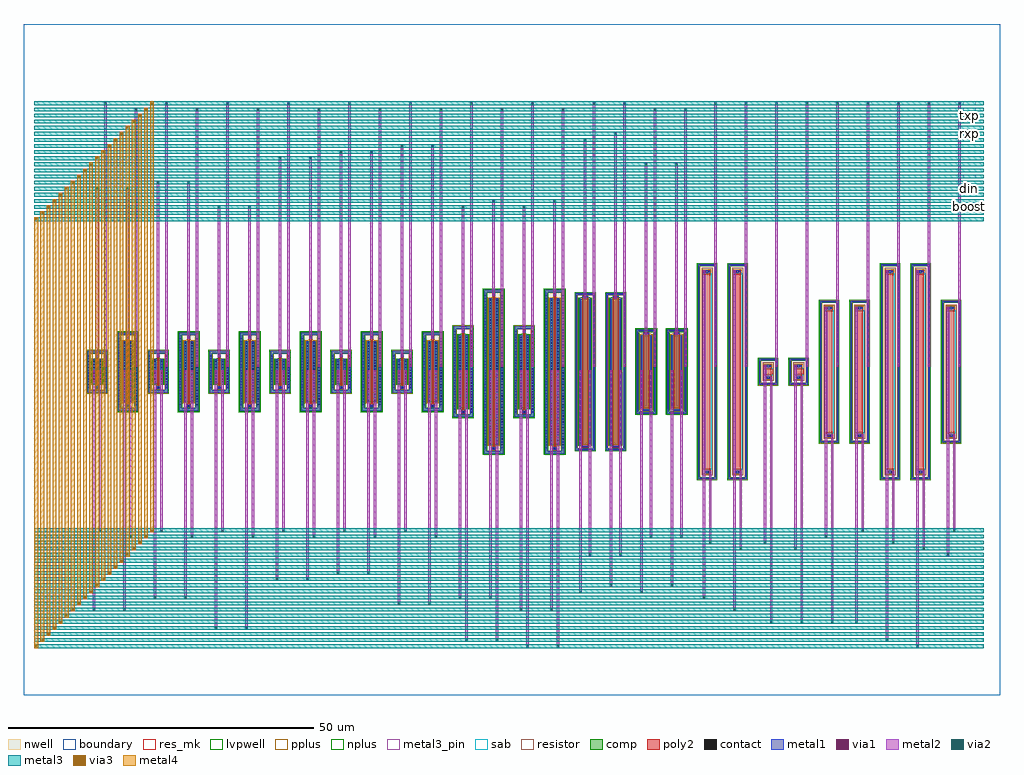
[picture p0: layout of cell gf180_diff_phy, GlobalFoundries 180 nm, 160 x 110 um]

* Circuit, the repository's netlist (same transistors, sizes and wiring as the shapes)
* NGSPICE file created from gf180_diff_phy.ext - technology: gf180mcuD

.subckt nfet_03v3_w24_l1 G D B S
X0 S G D B nfet_03v3 ad=10.56p pd=48.88u as=10.56p ps=48.88u w=24u l=1u
.ends

.subckt ppolyf_u_1k_w1_l32 B P N
X0 P N B ppolyf_u_1k r_width=1u r_length=32u
.ends

.subckt ppolyf_u_1k_w1_l1 B P N
X0 P N B ppolyf_u_1k r_width=1u r_length=1u
.ends

.subckt pfet_03v3_w10_l0p28 G D B S
X0 S G D B pfet_03v3 ad=6.55p pd=21.31u as=6.55p ps=21.31u w=10u l=0.28u
.ends

.subckt nfet_03v3_w4_l0p28 G D B S
X0 S G D B nfet_03v3 ad=2.62p pd=9.31u as=2.62p ps=9.31u w=4u l=0.28u
.ends

.subckt ppolyf_u_1k_w1_l20 B P N
X0 P N B ppolyf_u_1k r_width=1u r_length=20u
.ends

.subckt nfet_03v3_w12_l0p28 G D B S
X0 S G D B nfet_03v3 ad=7.86p pd=25.31u as=7.86p ps=25.31u w=12u l=0.28u
.ends

.subckt pfet_03v3_w24_l0p28 G D B S
X0 S G D B pfet_03v3 ad=15.72p pd=49.31u as=15.72p ps=49.31u w=24u l=0.28u
.ends

.subckt pfet_03v3_w12_l1 G D B S
X0 S G D B pfet_03v3 ad=5.28p pd=24.88u as=5.28p ps=24.88u w=12u l=1u
.ends

.subckt gf180_diff_phy din boost rxp rxn txp txn dout VDPWR VGND
Xxn1 rxn xp2/G VGND xrt/P nfet_03v3_w24_l1
Xxrn2 VGND xrn2/P txn ppolyf_u_1k_w1_l32
Xxrbn VGND txn xrc2/P ppolyf_u_1k_w1_l1
Xxn2 rxp xp2/D VGND xrt/P nfet_03v3_w24_l1
Xxout_xp xout_xp/G dout VDPWR VDPWR pfet_03v3_w10_l0p28
Xxib_xn boost xtp_xp/G VGND VGND nfet_03v3_w4_l0p28
Xxi0_xn din xrn/P VGND VGND nfet_03v3_w4_l0p28
Xxrbp VGND txp xrc2/P ppolyf_u_1k_w1_l1
Xxib_xp boost xtp_xp/G VDPWR VDPWR pfet_03v3_w10_l0p28
Xxi0_xp din xrn/P VDPWR VDPWR pfet_03v3_w10_l0p28
Xxbuf_xn xis_xp/D xout_xp/G VGND VGND nfet_03v3_w4_l0p28
Xxbuf_xp xis_xp/D xout_xp/G VDPWR VDPWR pfet_03v3_w10_l0p28
Xxrc1 VGND VDPWR xrc2/P ppolyf_u_1k_w1_l20
Xxrc2 VGND xrc2/P VGND ppolyf_u_1k_w1_l20
Xxtp_xn boost xrp/P VGND xrp2/P nfet_03v3_w12_l0p28
Xxi1_xn xrn/P xrp/P VGND VGND nfet_03v3_w4_l0p28
Xxtp_xp xtp_xp/G xrp/P VDPWR xrp2/P pfet_03v3_w24_l0p28
Xxi1_xp xrn/P xrp/P VDPWR VDPWR pfet_03v3_w10_l0p28
Xxrn VGND xrn/P txn ppolyf_u_1k_w1_l32
Xxrp VGND xrp/P txp ppolyf_u_1k_w1_l32
Xxrt VGND xrt/P VGND ppolyf_u_1k_w1_l20
Xxtn_xn boost xrn/P VGND xrn2/P nfet_03v3_w12_l0p28
Xxtn_xp xtp_xp/G xrn/P VDPWR xrn2/P pfet_03v3_w24_l0p28
Xxis_xn xp2/D xis_xp/D VGND VGND nfet_03v3_w4_l0p28
Xxis_xp xp2/D xis_xp/D VDPWR VDPWR pfet_03v3_w10_l0p28
Xxp1 xp2/G xp2/G VDPWR VDPWR pfet_03v3_w12_l1
Xxrp2 VGND xrp2/P txp ppolyf_u_1k_w1_l32
Xxp2 xp2/G xp2/D VDPWR VDPWR pfet_03v3_w12_l1
Xxout_xn xout_xp/G dout VGND VGND nfet_03v3_w4_l0p28
.ends

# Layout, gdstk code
import gdstk
lib = gdstk.Library(unit=1e-6, precision=1e-09)
def R(c, l, rs):  # rectangles x0, y0, x1, y1
    for r in rs: c.add(gdstk.rectangle(r[:2], r[2:], *l))
def A(c, l, x, y, w, h, nx, ny, dx, dy):  # array of equal rectangles
    R(c, l, [(x+i*dx, y+j*dy, x+i*dx+w, y+j*dy+h) for i in range(nx) for j in range(ny)])
boundary = (0, 0)
nwell = (21, 0)
comp = (22, 0)
poly2 = (30, 0)
pplus = (31, 0)
nplus = (32, 0)
contact = (33, 0)
metal1 = (34, 0)
via1 = (35, 0)
metal2 = (36, 0)
via2 = (38, 0)
via3 = (40, 0)
metal3 = (42, 0)
metal3_pin = (42, 10)
metal4 = (46, 0)
sab = (49, 0)
resistor = (62, 0)
res_mk = (110, 5)
lvpwell = (204, 0)

nfet_03v3_w4_l0p28 = lib.new_cell('nfet_03v3_w4_l0p28')
R(nfet_03v3_w4_l0p28, boundary, [(-1.38,-3.22,1.38,3.22)])
R(nfet_03v3_w4_l0p28, comp, [(-1.635,-3.475,1.635,-2.965), (-1.635,-2.965,-1.125,2.965), (1.125,-2.965,1.635,2.965), (-0.795,-2,0.795,2), (-1.635,2.965,1.635,3.475)])
R(nfet_03v3_w4_l0p28, poly2, [(-0.255,-2.855,0.255,-2.345), (-0.14,-2.345,0.14,2.345), (-0.255,2.345,0.255,2.855)])
R(nfet_03v3_w4_l0p28, pplus, [(-1.655,-3.495,1.655,-2.945), (-1.655,-2.945,-1.095,-2.82), (1.095,-2.945,1.655,-2.82), (-1.665,-2.82,-1.095,2.82), (1.095,-2.82,1.665,2.82), (-1.655,2.82,-1.095,2.945), (1.095,2.82,1.655,2.945), (-1.655,2.945,1.655,3.495)])
R(nfet_03v3_w4_l0p28, nplus, [(-0.37,-2.23,0.37,-2.16), (-0.955,-2.16,0.955,2.16), (-0.37,2.16,0.37,2.23)])
A(nfet_03v3_w4_l0p28, contact, -1.49, -2.695, 0.22, 0.22, 1, 12, 0, 0.47)
A(nfet_03v3_w4_l0p28, contact, 1.27, -2.695, 0.22, 0.22, 1, 12, 0, 0.47)
A(nfet_03v3_w4_l0p28, contact, -0.65, -1.755, 0.22, 0.22, 1, 8, 0, 0.47)
A(nfet_03v3_w4_l0p28, contact, 0.43, -1.755, 0.22, 0.22, 1, 8, 0, 0.47)
R(nfet_03v3_w4_l0p28, contact, [(-0.11,-2.71,0.11,-2.49), (-0.11,2.49,0.11,2.71)])
R(nfet_03v3_w4_l0p28, metal1, [(-1.57,-3.41,1.57,-3.03), (-1.57,-3.03,-1.19,3.03), (1.19,-3.03,1.57,3.03), (-0.265,-2.79,0.265,-2.41), (-0.73,-2.01,-0.35,2.01), (0.35,-2.01,0.73,2.01), (-0.265,2.41,0.265,2.79), (-1.57,3.03,1.57,3.41)])
R(nfet_03v3_w4_l0p28, lvpwell, [(-1.755,-3.595,1.755,3.595)])
nfet_03v3_w4_l0p28.add(gdstk.Label('D', (-0.54,0), layer=22, texttype=0))
nfet_03v3_w4_l0p28.add(gdstk.Label('S', (0.54,0), layer=22, texttype=0))
nfet_03v3_w4_l0p28.add(gdstk.Label('G', (0,2.6), layer=30, texttype=10))
nfet_03v3_w4_l0p28.add(gdstk.Label('B', (-1.38,0), layer=22, texttype=0))

pfet_03v3_w10_l0p28 = lib.new_cell('pfet_03v3_w10_l0p28')
R(pfet_03v3_w10_l0p28, boundary, [(-1.38,-6.22,1.38,6.22)])
R(pfet_03v3_w10_l0p28, nwell, [(-1.755,-6.595,1.755,6.595)])
R(pfet_03v3_w10_l0p28, comp, [(-1.635,-6.475,1.635,-5.965), (-1.635,-5.965,-1.125,5.965), (1.125,-5.965,1.635,5.965), (-0.795,-5,0.795,5), (-1.635,5.965,1.635,6.475)])
R(pfet_03v3_w10_l0p28, poly2, [(-0.255,-5.855,0.255,-5.345), (-0.14,-5.345,0.14,5.345), (-0.255,5.345,0.255,5.855)])
R(pfet_03v3_w10_l0p28, pplus, [(-0.37,-5.23,0.37,-5.16), (-0.955,-5.16,0.955,5.16), (-0.37,5.16,0.37,5.23)])
R(pfet_03v3_w10_l0p28, nplus, [(-1.795,-6.635,1.795,-5.945), (-1.795,-5.945,-1.095,5.945), (1.095,-5.945,1.795,5.945), (-1.795,5.945,1.795,6.635)])
A(pfet_03v3_w10_l0p28, contact, -1.49, -5.515, 0.22, 0.22, 1, 24, 0, 0.47)
A(pfet_03v3_w10_l0p28, contact, 1.27, -5.515, 0.22, 0.22, 1, 24, 0, 0.47)
A(pfet_03v3_w10_l0p28, contact, -0.65, -4.81, 0.22, 0.22, 1, 21, 0, 0.47)
A(pfet_03v3_w10_l0p28, contact, 0.43, -4.81, 0.22, 0.22, 1, 21, 0, 0.47)
R(pfet_03v3_w10_l0p28, contact, [(-0.11,-5.71,0.11,-5.49), (-0.11,5.49,0.11,5.71)])
R(pfet_03v3_w10_l0p28, metal1, [(-1.57,-6.41,1.57,-6.03), (-1.57,-6.03,-1.19,6.03), (1.19,-6.03,1.57,6.03), (-0.265,-5.79,0.265,-5.41), (-0.73,-5.01,-0.35,5.01), (0.35,-5.01,0.73,5.01), (-0.265,5.41,0.265,5.79), (-1.57,6.03,1.57,6.41)])
pfet_03v3_w10_l0p28.add(gdstk.Label('D', (-0.54,0), layer=22, texttype=0))
pfet_03v3_w10_l0p28.add(gdstk.Label('S', (0.54,0), layer=22, texttype=0))
pfet_03v3_w10_l0p28.add(gdstk.Label('G', (0,5.6), layer=30, texttype=10))
pfet_03v3_w10_l0p28.add(gdstk.Label('B', (-1.38,0), layer=22, texttype=0))

nfet_03v3_w12_l0p28 = lib.new_cell('nfet_03v3_w12_l0p28')
R(nfet_03v3_w12_l0p28, boundary, [(-1.38,-7.22,1.38,7.22)])
R(nfet_03v3_w12_l0p28, comp, [(-1.635,-7.475,1.635,-6.965), (-1.635,-6.965,-1.125,6.965), (1.125,-6.965,1.635,6.965), (-0.795,-6,0.795,6), (-1.635,6.965,1.635,7.475)])
R(nfet_03v3_w12_l0p28, poly2, [(-0.255,-6.855,0.255,-6.345), (-0.14,-6.345,0.14,6.345), (-0.255,6.345,0.255,6.855)])
R(nfet_03v3_w12_l0p28, pplus, [(-1.655,-7.495,1.655,-6.945), (-1.655,-6.945,-1.095,-6.82), (1.095,-6.945,1.655,-6.82), (-1.665,-6.82,-1.095,6.82), (1.095,-6.82,1.665,6.82), (-1.655,6.82,-1.095,6.945), (1.095,6.82,1.655,6.945), (-1.655,6.945,1.655,7.495)])
R(nfet_03v3_w12_l0p28, nplus, [(-0.37,-6.23,0.37,-6.16), (-0.955,-6.16,0.955,6.16), (-0.37,6.16,0.37,6.23)])
A(nfet_03v3_w12_l0p28, contact, -1.49, -6.69, 0.22, 0.22, 1, 29, 0, 0.47)
A(nfet_03v3_w12_l0p28, contact, 1.27, -6.69, 0.22, 0.22, 1, 29, 0, 0.47)
A(nfet_03v3_w12_l0p28, contact, -0.65, -5.75, 0.22, 0.22, 1, 25, 0, 0.47)
A(nfet_03v3_w12_l0p28, contact, 0.43, -5.75, 0.22, 0.22, 1, 25, 0, 0.47)
R(nfet_03v3_w12_l0p28, contact, [(-0.11,-6.71,0.11,-6.49), (-0.11,6.49,0.11,6.71)])
R(nfet_03v3_w12_l0p28, metal1, [(-1.57,-7.41,1.57,-7.03), (-1.57,-7.03,-1.19,7.03), (1.19,-7.03,1.57,7.03), (-0.265,-6.79,0.265,-6.41), (-0.73,-6.01,-0.35,6.01), (0.35,-6.01,0.73,6.01), (-0.265,6.41,0.265,6.79), (-1.57,7.03,1.57,7.41)])
R(nfet_03v3_w12_l0p28, lvpwell, [(-1.755,-7.595,1.755,7.595)])
nfet_03v3_w12_l0p28.add(gdstk.Label('D', (-0.54,0), layer=22, texttype=0))
nfet_03v3_w12_l0p28.add(gdstk.Label('S', (0.54,0), layer=22, texttype=0))
nfet_03v3_w12_l0p28.add(gdstk.Label('G', (0,6.6), layer=30, texttype=10))
nfet_03v3_w12_l0p28.add(gdstk.Label('B', (-1.38,0), layer=22, texttype=0))

pfet_03v3_w24_l0p28 = lib.new_cell('pfet_03v3_w24_l0p28')
R(pfet_03v3_w24_l0p28, boundary, [(-1.38,-13.22,1.38,13.22)])
R(pfet_03v3_w24_l0p28, nwell, [(-1.755,-13.595,1.755,13.595)])
R(pfet_03v3_w24_l0p28, comp, [(-1.635,-13.475,1.635,-12.965), (-1.635,-12.965,-1.125,12.965), (1.125,-12.965,1.635,12.965), (-0.795,-12,0.795,12), (-1.635,12.965,1.635,13.475)])
R(pfet_03v3_w24_l0p28, poly2, [(-0.255,-12.855,0.255,-12.345), (-0.14,-12.345,0.14,12.345), (-0.255,12.345,0.255,12.855)])
R(pfet_03v3_w24_l0p28, pplus, [(-0.37,-12.23,0.37,-12.16), (-0.955,-12.16,0.955,12.16), (-0.37,12.16,0.37,12.23)])
R(pfet_03v3_w24_l0p28, nplus, [(-1.795,-13.635,1.795,-12.945), (-1.795,-12.945,-1.095,12.945), (1.095,-12.945,1.795,12.945), (-1.795,12.945,1.795,13.635)])
A(pfet_03v3_w24_l0p28, contact, -1.49, -12.565, 0.22, 0.22, 1, 54, 0, 0.47)
A(pfet_03v3_w24_l0p28, contact, 1.27, -12.565, 0.22, 0.22, 1, 54, 0, 0.47)
A(pfet_03v3_w24_l0p28, contact, -0.65, -11.86, 0.22, 0.22, 1, 51, 0, 0.47)
A(pfet_03v3_w24_l0p28, contact, 0.43, -11.86, 0.22, 0.22, 1, 51, 0, 0.47)
R(pfet_03v3_w24_l0p28, contact, [(-0.11,-12.71,0.11,-12.49), (-0.11,12.49,0.11,12.71)])
R(pfet_03v3_w24_l0p28, metal1, [(-1.57,-13.41,1.57,-13.03), (-1.57,-13.03,-1.19,13.03), (1.19,-13.03,1.57,13.03), (-0.265,-12.79,0.265,-12.41), (-0.73,-12.01,-0.35,12.01), (0.35,-12.01,0.73,12.01), (-0.265,12.41,0.265,12.79), (-1.57,13.03,1.57,13.41)])
pfet_03v3_w24_l0p28.add(gdstk.Label('D', (-0.54,0), layer=22, texttype=0))
pfet_03v3_w24_l0p28.add(gdstk.Label('S', (0.54,0), layer=22, texttype=0))
pfet_03v3_w24_l0p28.add(gdstk.Label('G', (0,12.6), layer=30, texttype=10))
pfet_03v3_w24_l0p28.add(gdstk.Label('B', (-1.38,0), layer=22, texttype=0))

nfet_03v3_w24_l1 = lib.new_cell('nfet_03v3_w24_l1')
R(nfet_03v3_w24_l1, boundary, [(-1.45,-12.75,1.45,12.75)])
R(nfet_03v3_w24_l1, comp, [(-1.63,-12.93,1.63,-12.57), (-1.63,-12.57,-1.27,12.57), (1.27,-12.57,1.63,12.57), (-0.94,-12,0.94,12), (-1.63,12.57,1.63,12.93)])
R(nfet_03v3_w24_l1, poly2, [(-0.5,-12.46,0.5,12.46)])
R(nfet_03v3_w24_l1, pplus, [(-1.65,-12.95,1.65,-12.55), (-1.65,-12.55,-1.24,-12.445), (1.24,-12.55,1.65,-12.445), (-1.66,-12.445,-1.24,12.445), (1.24,-12.445,1.66,12.445), (-1.65,12.445,-1.24,12.55), (1.24,12.445,1.65,12.55), (-1.65,12.55,1.65,12.95)])
R(nfet_03v3_w24_l1, nplus, [(-0.73,-12.23,0.73,-12.16), (-1.1,-12.16,1.1,12.16), (-0.73,12.16,0.73,12.23)])
A(nfet_03v3_w24_l1, contact, -1.56, -12.33, 0.22, 0.22, 1, 53, 0, 0.47)
A(nfet_03v3_w24_l1, contact, 1.34, -12.33, 0.22, 0.22, 1, 53, 0, 0.47)
A(nfet_03v3_w24_l1, contact, -0.87, -11.86, 0.22, 0.22, 1, 51, 0, 0.47)
A(nfet_03v3_w24_l1, contact, 0.65, -11.86, 0.22, 0.22, 1, 51, 0, 0.47)
R(nfet_03v3_w24_l1, contact, [(-0.345,-12.39,-0.125,-12.17), (0.125,-12.39,0.345,-12.17), (-0.345,12.17,-0.125,12.39), (0.125,12.17,0.345,12.39)])
R(nfet_03v3_w24_l1, metal1, [(-1.565,-12.865,1.565,-12.635), (-1.565,-12.635,-1.335,12.635), (1.335,-12.635,1.565,12.635), (-0.49,-12.395,0.49,-12.165), (-0.875,-11.99,-0.645,11.99), (0.645,-11.99,0.875,11.99), (-0.49,12.165,0.49,12.395), (-1.565,12.635,1.565,12.865)])
R(nfet_03v3_w24_l1, lvpwell, [(-1.75,-13.05,1.75,13.05)])
nfet_03v3_w24_l1.add(gdstk.Label('D', (-0.76,0), layer=22, texttype=0))
nfet_03v3_w24_l1.add(gdstk.Label('S', (0.76,0), layer=22, texttype=0))
nfet_03v3_w24_l1.add(gdstk.Label('G', (0,12.28), layer=30, texttype=10))
nfet_03v3_w24_l1.add(gdstk.Label('B', (-1.45,0), layer=22, texttype=0))

pfet_03v3_w12_l1 = lib.new_cell('pfet_03v3_w12_l1')
R(pfet_03v3_w12_l1, boundary, [(-1.45,-6.75,1.45,6.75)])
R(pfet_03v3_w12_l1, nwell, [(-1.75,-7.05,1.75,7.05)])
R(pfet_03v3_w12_l1, comp, [(-1.63,-6.93,1.63,-6.57), (-1.63,-6.57,-1.27,6.57), (1.27,-6.57,1.63,6.57), (-0.94,-6,0.94,6), (-1.63,6.57,1.63,6.93)])
R(pfet_03v3_w12_l1, poly2, [(-0.5,-6.46,0.5,6.46)])
R(pfet_03v3_w12_l1, pplus, [(-0.73,-6.23,0.73,-6.16), (-1.1,-6.16,1.1,6.16), (-0.73,6.16,0.73,6.23)])
R(pfet_03v3_w12_l1, nplus, [(-1.79,-7.09,1.79,-6.46), (-1.79,-6.46,-1.16,6.46), (1.16,-6.46,1.79,6.46), (-1.79,6.46,1.79,7.09)])
A(pfet_03v3_w12_l1, contact, -1.56, -6.22, 0.22, 0.22, 1, 27, 0, 0.47)
A(pfet_03v3_w12_l1, contact, 1.34, -6.22, 0.22, 0.22, 1, 27, 0, 0.47)
A(pfet_03v3_w12_l1, contact, -0.87, -5.75, 0.22, 0.22, 1, 25, 0, 0.47)
A(pfet_03v3_w12_l1, contact, 0.65, -5.75, 0.22, 0.22, 1, 25, 0, 0.47)
R(pfet_03v3_w12_l1, contact, [(-0.345,-6.39,-0.125,-6.17), (0.125,-6.39,0.345,-6.17), (-0.345,6.17,-0.125,6.39), (0.125,6.17,0.345,6.39)])
R(pfet_03v3_w12_l1, metal1, [(-1.565,-6.865,1.565,-6.635), (-1.565,-6.635,-1.335,6.635), (1.335,-6.635,1.565,6.635), (-0.49,-6.395,0.49,-6.165), (-0.875,-5.99,-0.645,5.99), (0.645,-5.99,0.875,5.99), (-0.49,6.165,0.49,6.395), (-1.565,6.635,1.565,6.865)])
pfet_03v3_w12_l1.add(gdstk.Label('D', (-0.76,0), layer=22, texttype=0))
pfet_03v3_w12_l1.add(gdstk.Label('S', (0.76,0), layer=22, texttype=0))
pfet_03v3_w12_l1.add(gdstk.Label('G', (0,6.28), layer=30, texttype=10))
pfet_03v3_w12_l1.add(gdstk.Label('B', (-1.45,0), layer=22, texttype=0))

ppolyf_u_1k_w1_l32 = lib.new_cell('ppolyf_u_1k_w1_l32')
R(ppolyf_u_1k_w1_l32, boundary, [(-1.38,-17.49,1.38,17.49)])
R(ppolyf_u_1k_w1_l32, comp, [(-1.56,-17.67,1.56,-17.31), (-1.56,-17.31,-1.2,17.31), (1.2,-17.31,1.56,17.31), (-1.56,17.31,1.56,17.67)])
R(ppolyf_u_1k_w1_l32, poly2, [(-0.5,-16.61,0.5,16.61)])
R(ppolyf_u_1k_w1_l32, pplus, [(-1.58,-17.69,1.58,-17.29), (-1.58,-17.29,-1.17,-17.185), (1.17,-17.29,1.58,-17.185), (-1.59,-17.185,-1.17,17.185), (1.17,-17.185,1.59,17.185), (-0.7,-16.81,0.7,-16), (-0.7,16,0.7,16.81), (-1.58,17.185,-1.17,17.29), (1.17,17.185,1.58,17.29), (-1.58,17.29,1.58,17.69)])
A(ppolyf_u_1k_w1_l32, contact, -1.49, -17.03, 0.22, 0.22, 1, 73, 0, 0.47)
A(ppolyf_u_1k_w1_l32, contact, 1.27, -17.03, 0.22, 0.22, 1, 73, 0, 0.47)
R(ppolyf_u_1k_w1_l32, contact, [(-0.345,-16.54,-0.125,-16.32), (0.125,-16.54,0.345,-16.32), (-0.345,16.32,-0.125,16.54), (0.125,16.32,0.345,16.54)])
R(ppolyf_u_1k_w1_l32, metal1, [(-1.495,-17.605,1.495,-17.375), (-1.495,-17.375,-1.265,17.375), (1.265,-17.375,1.495,17.375), (-0.49,-16.545,0.49,-16.315), (-0.49,16.315,0.49,16.545), (-1.495,17.375,1.495,17.605)])
R(ppolyf_u_1k_w1_l32, sab, [(-0.78,-16.1,0.78,16.1), (-0.78,-16,0.78,16)])
R(ppolyf_u_1k_w1_l32, resistor, [(-0.9,-17.01,0.9,17.01)])
R(ppolyf_u_1k_w1_l32, res_mk, [(-0.78,-16,0.78,16), (-0.5,-16,0.5,16)])
R(ppolyf_u_1k_w1_l32, lvpwell, [(-1.68,-17.79,1.68,17.79)])
ppolyf_u_1k_w1_l32.add(gdstk.Label('P', (0,16.43), layer=30, texttype=10))
ppolyf_u_1k_w1_l32.add(gdstk.Label('N', (0,-16.43), layer=30, texttype=10))
ppolyf_u_1k_w1_l32.add(gdstk.Label('B', (-1.38,0), layer=22, texttype=0))

ppolyf_u_1k_w1_l1 = lib.new_cell('ppolyf_u_1k_w1_l1')
R(ppolyf_u_1k_w1_l1, boundary, [(-1.38,-1.99,1.38,1.99)])
R(ppolyf_u_1k_w1_l1, comp, [(-1.56,-2.17,1.56,-1.81), (-1.56,-1.81,-1.2,1.81), (1.2,-1.81,1.56,1.81), (-1.56,1.81,1.56,2.17)])
R(ppolyf_u_1k_w1_l1, poly2, [(-0.5,-1.11,0.5,1.11)])
R(ppolyf_u_1k_w1_l1, pplus, [(-1.58,-2.19,1.58,-1.79), (-1.58,-1.79,-1.17,-1.685), (1.17,-1.79,1.58,-1.685), (-1.59,-1.685,-1.17,1.685), (1.17,-1.685,1.59,1.685), (-0.7,-1.31,0.7,-0.5), (-0.7,0.5,0.7,1.31), (-1.58,1.685,-1.17,1.79), (1.17,1.685,1.58,1.79), (-1.58,1.79,1.58,2.19)])
A(ppolyf_u_1k_w1_l1, contact, -1.49, -1.52, 0.22, 0.22, 1, 7, 0, 0.47)
A(ppolyf_u_1k_w1_l1, contact, 1.27, -1.52, 0.22, 0.22, 1, 7, 0, 0.47)
R(ppolyf_u_1k_w1_l1, contact, [(-0.345,-1.04,-0.125,-0.82), (0.125,-1.04,0.345,-0.82), (-0.345,0.82,-0.125,1.04), (0.125,0.82,0.345,1.04)])
R(ppolyf_u_1k_w1_l1, metal1, [(-1.495,-2.105,1.495,-1.875), (-1.495,-1.875,-1.265,1.875), (1.265,-1.875,1.495,1.875), (-0.49,-1.045,0.49,-0.815), (-0.49,0.815,0.49,1.045), (-1.495,1.875,1.495,2.105)])
R(ppolyf_u_1k_w1_l1, sab, [(-0.9,-0.6,0.9,0.6), (-0.78,-0.6,0.78,0.6)])
R(ppolyf_u_1k_w1_l1, resistor, [(-0.9,-1.51,0.9,1.51)])
R(ppolyf_u_1k_w1_l1, res_mk, [(-0.78,-0.5,0.78,0.5), (-0.5,-0.5,0.5,0.5)])
R(ppolyf_u_1k_w1_l1, lvpwell, [(-1.68,-2.29,1.68,2.29)])
ppolyf_u_1k_w1_l1.add(gdstk.Label('P', (0,0.93), layer=30, texttype=10))
ppolyf_u_1k_w1_l1.add(gdstk.Label('N', (0,-0.93), layer=30, texttype=10))
ppolyf_u_1k_w1_l1.add(gdstk.Label('B', (-1.38,0), layer=22, texttype=0))

ppolyf_u_1k_w1_l20 = lib.new_cell('ppolyf_u_1k_w1_l20')
R(ppolyf_u_1k_w1_l20, boundary, [(-1.38,-11.49,1.38,11.49)])
R(ppolyf_u_1k_w1_l20, comp, [(-1.56,-11.67,1.56,-11.31), (-1.56,-11.31,-1.2,11.31), (1.2,-11.31,1.56,11.31), (-1.56,11.31,1.56,11.67)])
R(ppolyf_u_1k_w1_l20, poly2, [(-0.5,-10.61,0.5,10.61)])
R(ppolyf_u_1k_w1_l20, pplus, [(-1.58,-11.69,1.58,-11.29), (-1.58,-11.29,-1.17,-11.185), (1.17,-11.29,1.58,-11.185), (-1.59,-11.185,-1.17,11.185), (1.17,-11.185,1.59,11.185), (-0.7,-10.81,0.7,-10), (-0.7,10,0.7,10.81), (-1.58,11.185,-1.17,11.29), (1.17,11.185,1.58,11.29), (-1.58,11.29,1.58,11.69)])
A(ppolyf_u_1k_w1_l20, contact, -1.49, -10.92, 0.22, 0.22, 1, 47, 0, 0.47)
A(ppolyf_u_1k_w1_l20, contact, 1.27, -10.92, 0.22, 0.22, 1, 47, 0, 0.47)
R(ppolyf_u_1k_w1_l20, contact, [(-0.345,-10.54,-0.125,-10.32), (0.125,-10.54,0.345,-10.32), (-0.345,10.32,-0.125,10.54), (0.125,10.32,0.345,10.54)])
R(ppolyf_u_1k_w1_l20, metal1, [(-1.495,-11.605,1.495,-11.375), (-1.495,-11.375,-1.265,11.375), (1.265,-11.375,1.495,11.375), (-0.49,-10.545,0.49,-10.315), (-0.49,10.315,0.49,10.545), (-1.495,11.375,1.495,11.605)])
R(ppolyf_u_1k_w1_l20, sab, [(-0.78,-10.1,0.78,10.1), (-0.78,-10,0.78,10)])
R(ppolyf_u_1k_w1_l20, resistor, [(-0.9,-11.01,0.9,11.01)])
R(ppolyf_u_1k_w1_l20, res_mk, [(-0.78,-10,0.78,10), (-0.5,-10,0.5,10)])
R(ppolyf_u_1k_w1_l20, lvpwell, [(-1.68,-11.79,1.68,11.79)])
ppolyf_u_1k_w1_l20.add(gdstk.Label('P', (0,10.43), layer=30, texttype=10))
ppolyf_u_1k_w1_l20.add(gdstk.Label('N', (0,-10.43), layer=30, texttype=10))
ppolyf_u_1k_w1_l20.add(gdstk.Label('B', (-1.38,0), layer=22, texttype=0))

gf180_diff_phy = lib.new_cell('gf180_diff_phy')
R(gf180_diff_phy, boundary, [(0,0,160,110)])
A(gf180_diff_phy, metal1, 13.18, 53.8, 0.4, 0.4, 16, 1, 5, 0)
A(gf180_diff_phy, metal1, 93.25, 53.8, 0.4, 0.4, 4, 1, 5, 0)
A(gf180_diff_phy, metal1, 113.18, 53.8, 0.4, 0.4, 9, 1, 5, 0)
A(gf180_diff_phy, metal1, 11.8, 55.4, 0.4, 0.4, 6, 1, 10, 0)
A(gf180_diff_phy, metal1, 16.8, 58.4, 0.4, 0.4, 6, 1, 10, 0)
R(gf180_diff_phy, metal1, [(111.8,36.37,112.7,36.77), (116.8,36.37,117.7,36.77), (141.8,36.37,142.7,36.77), (146.8,36.37,147.7,36.77), (131.8,42.37,132.7,42.77), (136.8,42.37,137.7,42.77), (151.8,42.37,152.7,42.77), (121.8,51.87,122.7,52.27), (126.8,51.87,127.7,52.27), (11.26,52.8,11.66,53.2), (12.34,52.8,12.74,53.2), (16.26,52.8,16.66,53.2), (17.34,52.8,17.74,53.2), (21.26,52.8,21.66,53.2), (22.34,52.8,22.74,53.2), (26.26,52.8,26.66,53.2), (27.34,52.8,27.74,53.2), (31.26,52.8,31.66,53.2), (32.34,52.8,32.74,53.2), (36.26,52.8,36.66,53.2), (37.34,52.8,37.74,53.2), (41.26,52.8,41.66,53.2), (42.34,52.8,42.74,53.2), (46.26,52.8,46.66,53.2), (47.34,52.8,47.74,53.2), (51.26,52.8,51.66,53.2), (52.34,52.8,52.74,53.2), (56.26,52.8,56.66,53.2), (57.34,52.8,57.74,53.2), (61.26,52.8,61.66,53.2), (62.34,52.8,62.74,53.2), (66.26,52.8,66.66,53.2), (67.34,52.8,67.74,53.2), (71.26,52.8,71.66,53.2), (72.34,52.8,72.74,53.2), (76.26,52.8,76.66,53.2), (77.34,52.8,77.74,53.2), (81.26,52.8,81.66,53.2), (82.34,52.8,82.74,53.2), (86.26,52.8,86.66,53.2), (87.34,52.8,87.74,53.2), (91.04,52.8,91.44,53.2), (92.56,52.8,92.96,53.2), (96.04,52.8,96.44,53.2), (97.56,52.8,97.96,53.2), (101.04,52.8,101.44,53.2), (102.56,52.8,102.96,53.2), (106.04,52.8,106.44,53.2), (107.56,52.8,107.96,53.2), (121.3,53.73,122.2,54.13), (126.3,53.73,127.2,54.13), (101.8,58.96,102.2,59.36), (106.8,58.96,107.2,59.36), (71.8,59.4,72.2,59.8), (81.8,59.4,82.2,59.8), (131.3,63.23,132.2,63.63), (136.3,63.23,137.2,63.63), (151.3,63.23,152.2,63.63), (91.8,64.96,92.2,65.36), (96.8,64.96,97.2,65.36), (76.8,65.4,77.2,65.8), (86.8,65.4,87.2,65.8), (111.3,69.23,112.2,69.63), (116.3,69.23,117.2,69.63), (141.3,69.23,142.2,69.63), (146.3,69.23,147.2,69.63)])
A(gf180_diff_phy, via1, 13.25, 53.87, 0.26, 0.26, 16, 1, 5, 0)
A(gf180_diff_phy, via1, 93.32, 53.87, 0.26, 0.26, 4, 1, 5, 0)
A(gf180_diff_phy, via1, 113.25, 53.87, 0.26, 0.26, 9, 1, 5, 0)
A(gf180_diff_phy, via1, 11.87, 55.47, 0.26, 0.26, 6, 1, 10, 0)
A(gf180_diff_phy, via1, 16.87, 58.47, 0.26, 0.26, 6, 1, 10, 0)
R(gf180_diff_phy, via1, [(112.37,36.44,112.63,36.7), (117.37,36.44,117.63,36.7), (142.37,36.44,142.63,36.7), (147.37,36.44,147.63,36.7), (132.37,42.44,132.63,42.7), (137.37,42.44,137.63,42.7), (152.37,42.44,152.63,42.7), (122.37,51.94,122.63,52.2), (127.37,51.94,127.63,52.2), (11.33,52.87,11.59,53.13), (12.41,52.87,12.67,53.13), (16.33,52.87,16.59,53.13), (17.41,52.87,17.67,53.13), (21.33,52.87,21.59,53.13), (22.41,52.87,22.67,53.13), (26.33,52.87,26.59,53.13), (27.41,52.87,27.67,53.13), (31.33,52.87,31.59,53.13), (32.41,52.87,32.67,53.13), (36.33,52.87,36.59,53.13), (37.41,52.87,37.67,53.13), (41.33,52.87,41.59,53.13), (42.41,52.87,42.67,53.13), (46.33,52.87,46.59,53.13), (47.41,52.87,47.67,53.13), (51.33,52.87,51.59,53.13), (52.41,52.87,52.67,53.13), (56.33,52.87,56.59,53.13), (57.41,52.87,57.67,53.13), (61.33,52.87,61.59,53.13), (62.41,52.87,62.67,53.13), (66.33,52.87,66.59,53.13), (67.41,52.87,67.67,53.13), (71.33,52.87,71.59,53.13), (72.41,52.87,72.67,53.13), (76.33,52.87,76.59,53.13), (77.41,52.87,77.67,53.13), (81.33,52.87,81.59,53.13), (82.41,52.87,82.67,53.13), (86.33,52.87,86.59,53.13), (87.41,52.87,87.67,53.13), (91.11,52.87,91.37,53.13), (92.63,52.87,92.89,53.13), (96.11,52.87,96.37,53.13), (97.63,52.87,97.89,53.13), (101.11,52.87,101.37,53.13), (102.63,52.87,102.89,53.13), (106.11,52.87,106.37,53.13), (107.63,52.87,107.89,53.13), (121.37,53.8,121.63,54.06), (126.37,53.8,126.63,54.06), (101.87,59.03,102.13,59.29), (106.87,59.03,107.13,59.29), (71.87,59.47,72.13,59.73), (81.87,59.47,82.13,59.73), (131.37,63.3,131.63,63.56), (136.37,63.3,136.63,63.56), (151.37,63.3,151.63,63.56), (91.87,65.03,92.13,65.29), (96.87,65.03,97.13,65.29), (76.87,65.47,77.13,65.73), (86.87,65.47,87.13,65.73), (111.37,69.3,111.63,69.56), (116.37,69.3,116.63,69.56), (141.37,69.3,141.63,69.56), (146.37,69.3,146.63,69.56)])
A(gf180_diff_phy, metal2, 17.34, 25.8, 0.4, 27.4, 6, 1, 10, 0)
A(gf180_diff_phy, metal2, 12.34, 26.8, 0.4, 26.4, 6, 1, 10, 0)
A(gf180_diff_phy, metal2, 13.18, 53.8, 0.4, 43.4, 8, 1, 10, 0)
A(gf180_diff_phy, metal2, 18.18, 53.8, 0.4, 42.4, 8, 1, 10, 0)
A(gf180_diff_phy, metal2, 113.18, 53.8, 0.4, 43.4, 9, 1, 5, 0)
R(gf180_diff_phy, metal2, [(82.34,7.8,82.74,53.2), (87.34,7.8,87.74,53.2), (146.3,7.8,146.7,69.63), (72.34,8.8,72.74,53.2), (77.34,8.8,77.74,53.2), (141.3,8.8,141.7,69.63), (31.26,10.8,31.66,53.2), (36.26,10.8,36.66,53.2), (122.3,11.8,122.7,52.27), (127.3,11.8,127.7,52.27), (132.3,11.8,132.7,42.77), (136.3,11.8,136.7,63.63), (11.26,13.8,11.66,53.2), (16.26,13.8,16.66,53.2), (81.26,13.8,81.66,53.2), (86.26,13.8,86.66,53.2), (116.3,13.8,116.7,69.63), (61.26,14.8,61.66,53.2), (66.26,14.8,66.66,53.2), (21.26,15.8,21.66,53.2), (26.26,15.8,26.66,53.2), (71.26,15.8,71.66,53.2), (76.26,15.8,76.66,53.2), (111.3,15.8,111.7,69.63), (91.04,16.8,91.44,53.2), (101.04,16.8,101.44,53.2), (96.04,17.8,96.44,53.2), (106.04,17.8,106.44,53.2), (41.26,18.8,41.66,53.2), (46.26,18.8,46.66,53.2), (51.26,19.8,51.66,53.2), (56.26,19.8,56.66,53.2), (92.56,22.8,92.96,53.2), (97.56,22.8,97.96,53.2), (151.3,22.8,151.7,63.63), (117.3,23.8,117.7,36.77), (126.3,23.8,126.7,54.13), (147.3,23.8,147.7,36.77), (112.3,24.8,112.7,36.77), (121.3,24.8,121.7,54.13), (142.3,24.8,142.7,36.77), (102.56,25.8,102.96,53.2), (107.56,25.8,107.96,53.2), (131.3,25.8,131.7,63.63), (137.3,26.8,137.7,42.77), (152.3,26.8,152.7,42.77), (93.25,53.8,93.65,97.2), (98.25,53.8,98.65,97.2), (103.25,53.8,103.65,96.2), (108.25,53.8,108.65,96.2), (11.8,55.4,12.2,83.2), (21.8,55.4,22.2,84.2), (31.8,55.4,32.2,80.2), (41.8,55.4,42.2,88.2), (51.8,55.4,52.2,89.2), (61.8,55.4,62.2,90.2), (16.8,58.4,17.2,83.2), (26.8,58.4,27.2,84.2), (36.8,58.4,37.2,80.2), (46.8,58.4,47.2,88.2), (56.8,58.4,57.2,89.2), (66.8,58.4,67.2,90.2), (101.8,58.96,102.2,87.2), (106.8,58.96,107.2,87.2), (71.8,59.4,72.2,80.2), (81.8,59.4,82.2,80.2), (91.8,64.96,92.2,91.2), (96.8,64.96,97.2,92.2), (76.8,65.4,77.2,81.2), (86.8,65.4,87.2,81.2)])
A(gf180_diff_phy, via2, 122.37, 11.87, 0.26, 0.26, 3, 1, 5, 0)
A(gf180_diff_phy, via2, 17.41, 25.87, 0.26, 0.26, 6, 1, 10, 0)
A(gf180_diff_phy, via2, 12.41, 26.87, 0.26, 0.26, 6, 1, 10, 0)
A(gf180_diff_phy, via2, 18.25, 95.87, 0.26, 0.26, 8, 1, 10, 0)
A(gf180_diff_phy, via2, 13.25, 96.87, 0.26, 0.26, 8, 1, 10, 0)
A(gf180_diff_phy, via2, 113.25, 96.87, 0.26, 0.26, 9, 1, 5, 0)
R(gf180_diff_phy, via2, [(82.41,7.87,82.67,8.13), (87.41,7.87,87.67,8.13), (146.37,7.87,146.63,8.13), (72.41,8.87,72.67,9.13), (77.41,8.87,77.67,9.13), (141.37,8.87,141.63,9.13), (31.33,10.87,31.59,11.13), (36.33,10.87,36.59,11.13), (136.37,11.87,136.63,12.13), (11.33,13.87,11.59,14.13), (16.33,13.87,16.59,14.13), (81.33,13.87,81.59,14.13), (86.33,13.87,86.59,14.13), (116.37,13.87,116.63,14.13), (61.33,14.87,61.59,15.13), (66.33,14.87,66.59,15.13), (21.33,15.87,21.59,16.13), (26.33,15.87,26.59,16.13), (71.33,15.87,71.59,16.13), (76.33,15.87,76.59,16.13), (111.37,15.87,111.63,16.13), (91.11,16.87,91.37,17.13), (101.11,16.87,101.37,17.13), (96.11,17.87,96.37,18.13), (106.11,17.87,106.37,18.13), (41.33,18.87,41.59,19.13), (46.33,18.87,46.59,19.13), (51.33,19.87,51.59,20.13), (56.33,19.87,56.59,20.13), (92.63,22.87,92.89,23.13), (97.63,22.87,97.89,23.13), (151.37,22.87,151.63,23.13), (117.37,23.87,117.63,24.13), (126.37,23.87,126.63,24.13), (147.37,23.87,147.63,24.13), (112.37,24.87,112.63,25.13), (121.37,24.87,121.63,25.13), (142.37,24.87,142.63,25.13), (102.63,25.87,102.89,26.13), (107.63,25.87,107.89,26.13), (131.37,25.87,131.63,26.13), (137.37,26.87,137.63,27.13), (152.37,26.87,152.63,27.13), (31.87,79.87,32.13,80.13), (36.87,79.87,37.13,80.13), (71.87,79.87,72.13,80.13), (81.87,79.87,82.13,80.13), (76.87,80.87,77.13,81.13), (86.87,80.87,87.13,81.13), (11.87,82.87,12.13,83.13), (16.87,82.87,17.13,83.13), (21.87,83.87,22.13,84.13), (26.87,83.87,27.13,84.13), (101.87,86.87,102.13,87.13), (106.87,86.87,107.13,87.13), (41.87,87.87,42.13,88.13), (46.87,87.87,47.13,88.13), (51.87,88.87,52.13,89.13), (56.87,88.87,57.13,89.13), (61.87,89.87,62.13,90.13), (66.87,89.87,67.13,90.13), (91.87,90.87,92.13,91.13), (96.87,91.87,97.13,92.13), (103.32,95.87,103.58,96.13), (108.32,95.87,108.58,96.13), (93.32,96.87,93.58,97.13), (98.32,96.87,98.58,97.13)])
R(gf180_diff_phy, via3, [(1.87,7.87,2.13,8.13), (2.87,8.87,3.13,9.13), (3.87,9.87,4.13,10.13), (4.87,10.87,5.13,11.13), (5.87,11.87,6.13,12.13), (6.87,12.87,7.13,13.13), (7.87,13.87,8.13,14.13), (8.87,14.87,9.13,15.13), (9.87,15.87,10.13,16.13), (10.87,16.87,11.13,17.13), (11.87,17.87,12.13,18.13), (12.87,18.87,13.13,19.13), (13.87,19.87,14.13,20.13), (14.87,20.87,15.13,21.13), (15.87,21.87,16.13,22.13), (16.87,22.87,17.13,23.13), (17.87,23.87,18.13,24.13), (18.87,24.87,19.13,25.13), (19.87,25.87,20.13,26.13), (20.87,26.87,21.13,27.13), (1.87,77.87,2.13,78.13), (2.87,78.87,3.13,79.13), (3.87,79.87,4.13,80.13), (4.87,80.87,5.13,81.13), (5.87,81.87,6.13,82.13), (6.87,82.87,7.13,83.13), (7.87,83.87,8.13,84.13), (8.87,84.87,9.13,85.13), (9.87,85.87,10.13,86.13), (10.87,86.87,11.13,87.13), (11.87,87.87,12.13,88.13), (12.87,88.87,13.13,89.13), (13.87,89.87,14.13,90.13), (14.87,90.87,15.13,91.13), (15.87,91.87,16.13,92.13), (16.87,92.87,17.13,93.13), (17.87,93.87,18.13,94.13), (18.87,94.87,19.13,95.13), (19.87,95.87,20.13,96.13), (20.87,96.87,21.13,97.13)])
A(gf180_diff_phy, metal3, 1.7, 7.7, 155.6, 0.6, 1, 20, 0, 1)
A(gf180_diff_phy, metal3, 1.7, 77.7, 155.6, 0.6, 1, 20, 0, 1)
A(gf180_diff_phy, metal3_pin, 154, 93.7, 2, 0.6, 1, 4, 0, 1)
R(gf180_diff_phy, metal3_pin, [(154,79.7,156,80.3), (154,82.7,156,83.3), (154,84.7,156,85.3), (154,90.7,156,91.3), (154,91.7,156,92.3)])
R(gf180_diff_phy, metal4, [(1.7,7.7,2.3,78.3), (2.7,8.7,3.3,79.3), (3.7,9.7,4.3,80.3), (4.7,10.7,5.3,81.3), (5.7,11.7,6.3,82.3), (6.7,12.7,7.3,83.3), (7.7,13.7,8.3,84.3), (8.7,14.7,9.3,85.3), (9.7,15.7,10.3,86.3), (10.7,16.7,11.3,87.3), (11.7,17.7,12.3,88.3), (12.7,18.7,13.3,89.3), (13.7,19.7,14.3,90.3), (14.7,20.7,15.3,91.3), (15.7,21.7,16.3,92.3), (16.7,22.7,17.3,93.3), (17.7,23.7,18.3,94.3), (18.7,24.7,19.3,95.3), (19.7,25.7,20.3,96.3), (20.7,26.7,21.3,97.3)])
gf180_diff_phy.add(gdstk.Reference(nfet_03v3_w4_l0p28, (12,53)))
gf180_diff_phy.add(gdstk.Reference(pfet_03v3_w10_l0p28, (17,53)))
gf180_diff_phy.add(gdstk.Reference(nfet_03v3_w4_l0p28, (22,53)))
gf180_diff_phy.add(gdstk.Reference(pfet_03v3_w10_l0p28, (27,53)))
gf180_diff_phy.add(gdstk.Reference(nfet_03v3_w4_l0p28, (32,53)))
gf180_diff_phy.add(gdstk.Reference(pfet_03v3_w10_l0p28, (37,53)))
gf180_diff_phy.add(gdstk.Reference(nfet_03v3_w4_l0p28, (42,53)))
gf180_diff_phy.add(gdstk.Reference(pfet_03v3_w10_l0p28, (47,53)))
gf180_diff_phy.add(gdstk.Reference(nfet_03v3_w4_l0p28, (52,53)))
gf180_diff_phy.add(gdstk.Reference(pfet_03v3_w10_l0p28, (57,53)))
gf180_diff_phy.add(gdstk.Reference(nfet_03v3_w4_l0p28, (62,53)))
gf180_diff_phy.add(gdstk.Reference(pfet_03v3_w10_l0p28, (67,53)))
gf180_diff_phy.add(gdstk.Reference(nfet_03v3_w12_l0p28, (72,53)))
gf180_diff_phy.add(gdstk.Reference(pfet_03v3_w24_l0p28, (77,53)))
gf180_diff_phy.add(gdstk.Reference(nfet_03v3_w12_l0p28, (82,53)))
gf180_diff_phy.add(gdstk.Reference(pfet_03v3_w24_l0p28, (87,53)))
gf180_diff_phy.add(gdstk.Reference(nfet_03v3_w24_l1, (92,53)))
gf180_diff_phy.add(gdstk.Reference(nfet_03v3_w24_l1, (97,53)))
gf180_diff_phy.add(gdstk.Reference(pfet_03v3_w12_l1, (102,53)))
gf180_diff_phy.add(gdstk.Reference(pfet_03v3_w12_l1, (107,53)))
gf180_diff_phy.add(gdstk.Reference(ppolyf_u_1k_w1_l32, (112,53)))
gf180_diff_phy.add(gdstk.Reference(ppolyf_u_1k_w1_l32, (117,53)))
gf180_diff_phy.add(gdstk.Reference(ppolyf_u_1k_w1_l1, (122,53)))
gf180_diff_phy.add(gdstk.Reference(ppolyf_u_1k_w1_l1, (127,53)))
gf180_diff_phy.add(gdstk.Reference(ppolyf_u_1k_w1_l20, (132,53)))
gf180_diff_phy.add(gdstk.Reference(ppolyf_u_1k_w1_l20, (137,53)))
gf180_diff_phy.add(gdstk.Reference(ppolyf_u_1k_w1_l32, (142,53)))
gf180_diff_phy.add(gdstk.Reference(ppolyf_u_1k_w1_l32, (147,53)))
gf180_diff_phy.add(gdstk.Reference(ppolyf_u_1k_w1_l20, (152,53)))
gf180_diff_phy.add(gdstk.Label('din', (155,83), layer=42, texttype=10))
gf180_diff_phy.add(gdstk.Label('boost', (155,80), layer=42, texttype=10))
gf180_diff_phy.add(gdstk.Label('rxp', (155,92), layer=42, texttype=10))
gf180_diff_phy.add(gdstk.Label('rxn', (155,91), layer=42, texttype=10))
gf180_diff_phy.add(gdstk.Label('txp', (155,95), layer=42, texttype=10))
gf180_diff_phy.add(gdstk.Label('txn', (155,94), layer=42, texttype=10))
gf180_diff_phy.add(gdstk.Label('dout', (155,85), layer=42, texttype=10))
gf180_diff_phy.add(gdstk.Label('VDPWR', (155,96), layer=42, texttype=10))
gf180_diff_phy.add(gdstk.Label('VGND', (155,97), layer=42, texttype=10))

lib.write_gds('gf180_diff_phy.gds')
